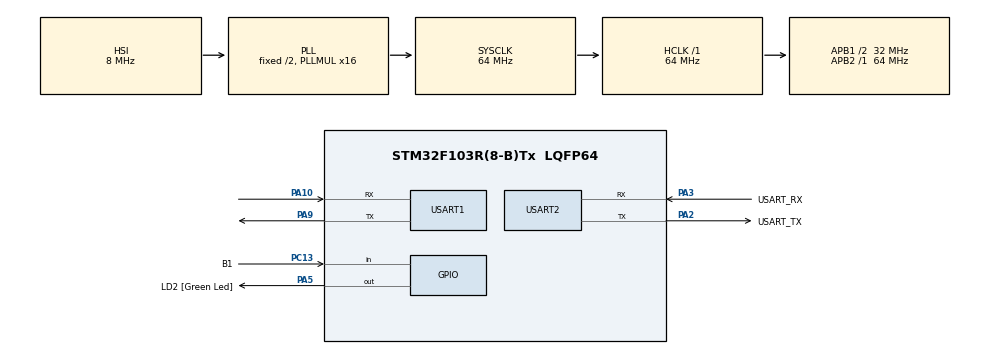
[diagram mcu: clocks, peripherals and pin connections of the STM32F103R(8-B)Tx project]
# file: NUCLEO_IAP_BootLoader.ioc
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Mcu.Family=STM32F1
Mcu.Name=STM32F103R(8-B)Tx
Mcu.Package=LQFP64
NVIC.PriorityGroup=NVIC_PRIORITYGROUP_4
NVIC.USART1_IRQn=true\:0\:0\:false\:false\:true\:true\:true
PA10.Mode=Asynchronous
PA10.Signal=USART1_RX
PA13.GPIO_Label=TMS
PA13.Mode=Serial_Wire
PA13.Signal=SYS_JTMS-SWDIO
PA14.GPIO_Label=TCK
PA14.Mode=Serial_Wire
PA14.Signal=SYS_JTCK-SWCLK
PA2.GPIO_Label=USART_TX
PA2.GPIO_Mode=GPIO_MODE_AF_PP
PA2.GPIO_PuPd=GPIO_NOPULL
PA2.GPIO_Speed=GPIO_SPEED_FREQ_LOW
PA2.Mode=Asynchronous
PA2.Signal=USART2_TX
PA3.GPIO_Label=USART_RX
PA3.GPIO_Mode=GPIO_MODE_AF_PP
PA3.GPIO_PuPd=GPIO_NOPULL
PA3.GPIO_Speed=GPIO_SPEED_FREQ_LOW
PA3.Mode=Asynchronous
PA3.Signal=USART2_RX
PA5.GPIO_Label=LD2 [Green Led]
PA5.GPIO_ModeDefaultOutputPP=GPIO_MODE_OUTPUT_PP
PA5.GPIO_PuPd=GPIO_NOPULL
PA5.GPIO_Speed=GPIO_SPEED_FREQ_LOW
PA5.Signal=GPIO_Output
PA9.Mode=Asynchronous
PA9.Signal=USART1_TX
PB3.GPIO_Label=SWO
PB3.Signal=SYS_JTDO-TRACESWO
PC13-TAMPER-RTC.GPIO_Label=B1
PC13-TAMPER-RTC.Signal=GPIO_Input
PC14-OSC32_IN.Mode=LSE-External-Oscillator
PC14-OSC32_IN.Signal=RCC_OSC32_IN
PC15-OSC32_OUT.Mode=LSE-External-Oscillator
PC15-OSC32_OUT.Signal=RCC_OSC32_OUT
PD0-OSC_IN.Signal=RCC_OSC_IN
PD1-OSC_OUT.Signal=RCC_OSC_OUT
ProjectManager.HeapSize=0x200
ProjectManager.StackSize=0x400
ProjectManager.TargetToolchain=STM32CubeIDE
RCC.AHBFreq_Value=64000000
RCC.APB1CLKDivider=RCC_HCLK_DIV2
RCC.APB1Freq_Value=32000000
RCC.APB1TimFreq_Value=64000000
RCC.APB2Freq_Value=64000000
RCC.APB2TimFreq_Value=64000000
RCC.HCLKFreq_Value=64000000
RCC.PLLMUL=RCC_PLL_MUL16
RCC.RTCClockSelection=RCC_RTCCLKSOURCE_LSE
RCC.SYSCLKFreq_VALUE=64000000
RCC.SYSCLKSource=RCC_SYSCLKSOURCE_PLLCLK
RCC.USBFreq_Value=64000000
USART1.VirtualMode=VM_ASYNC
USART2.VirtualMode=VM_ASYNC
board=NUCLEO-F103RB

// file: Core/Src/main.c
/* USER CODE BEGIN Header */
/**
  ******************************************************************************
  * @file           : main.c
  * @brief          : Main program body
  ******************************************************************************
  * @attention
  *
  * <h2><center>&copy; Copyright (c) 2020 STMicroelectronics.
  * All rights reserved.</center></h2>
  *
  * This software component is licensed by ST under BSD 3-Clause license,
  * the "License"; You may not use this file except in compliance with the
  * License. You may obtain a copy of the License at:
  *                        opensource.org/licenses/BSD-3-Clause
  *
  ******************************************************************************
  */
/* USER CODE END Header */

#include "main.h"
#include "usart.h"
#include "gpio.h"

/* USER CODE BEGIN Includes */
#include "stdio.h"
#include "flash.h"
/* USER CODE END Includes */

/* USER CODE BEGIN PV */

uint8_t Uart1_Rx_Char;		// 用来接收串口1收到的的数据
uint8_t Uart1_Rx_Buffer[150] = {0};
//uint8_t Wifi_Command_Buffer[100] = {0};
uint8_t Rx_Buffer_Size = 0;
//uint8_t Rx_Line_Flag = 0;

/* USER CODE END PV */

void SystemClock_Config(void);
/* USER CODE BEGIN PFP */

void go2APP(void);

void Data_Manage(uint8_t Is_Last_Page);

void Download_App(void);
/* USER CODE END PFP */

int main(void)
{

  /* MCU Configuration--------------------------------------------------------*/

  /* Reset of all peripherals, Initializes the Flash interface and the Systick. */
  HAL_Init();

  /* Configure the system clock */
  SystemClock_Config();

  /* Initialize all configured peripherals */
  MX_GPIO_Init();
  MX_USART2_UART_Init();
  MX_USART1_UART_Init();
  /* USER CODE BEGIN 2 */
  HAL_UART_Receive_IT(&huart1,&Uart1_Rx_Char,1);
  //printf("BOOTLOADER Start\r\n");
/*
  uint8_t Flash_Test[1024] = {0};
  for(int i = 0; i < 256; i++) {
	  Flash_Test[i] = 25;
  }
  Flash_Write_Page(0x08008000, Flash_Test);
  uint32_t t =  *(uint32_t *)0x08008400;
  while(1);
*/
 // printf("C");
  //printf("C");
/*
  //printf("C\r\n");
  printf("C\n");
 // int i = 0;
  uint8_t ReceiveFile_End_Flag = 0;
  uint8_t temp[10] = {0}, i = 0;
 // uint8_t Last_Buffer_Size = 0;
  while(1) {

	  if(Rx_Buffer_Size == 133) { //一帧数据接受完成

		  if(Uart1_Rx_Buffer[1] == 0) { //为起始帧
			  printf("%c", 6);//返回ACK
			  printf("C\n");
		  } else {  //每一帧正文数据  在printf前处理

			  Data_Manage(0);

			  printf("%c\n", 6);//返回ACK
			 // printf("C\r\n");
		  }

		  //Rx_Buffer_Size = 0;
		 // printf("%c", 6);
		 // printf("C\r\n");
		//  i++;
		  Rx_Buffer_Size = 0;
	    }

 	//  if((Rx_Buffer_Size - Last_Buffer_Size) == 1 && Rx_Buffer_Size == 1) { //检查第一位
	  	  if(Rx_Buffer_Size == 1) {
 		 // temp[i] = Uart1_Rx_Buffer[0];
 		  //i++;

		  if(Uart1_Rx_Buffer[0] == 4) { //文件传送结束
				/*
			  if(ReceiveFile_End_Flag == 1) {
				  printf("%c", 6); //返回ACK
				  printf("C\r\n");
				  //ReceiveFile_End_Flag = 1;
				  Rx_Buffer_Size = 0;
			  }

			  if(ReceiveFile_End_Flag == 0) { //发送方发送的第一个EOT 此处处理收尾

				  Data_Manage(1);

				//  while(1);

				  printf("%c\n", 21); //返回NAK
				  ReceiveFile_End_Flag = 1;
				  Rx_Buffer_Size = 0;
			  }
		  }

	  }

 	// Last_Buffer_Size = Rx_Buffer_Size;
  }
*/
  /* USER CODE END 2 */

  /* Infinite loop */
  /* USER CODE BEGIN WHILE */
  while (1)
  {
	  if(HAL_GPIO_ReadPin(B1_GPIO_Port, B1_Pin)) { //user app
		 // printf("button is up\r\n");
		//  HAL_GPIO_WritePin(LD2_GPIO_Port, LD2_Pin,GPIO_PIN_RESET);
		  go2APP();
	  } else { //bootloader
		 // printf("button is down\r\n");

		  //HAL_GPIO_WritePin(LD2_GPIO_Port, LD2_Pin, GPIO_PIN_SET);

		  Download_App();
		  go2APP();
		  //printf("C");
		  //HAL_FLASH
	  }
    /* USER CODE END WHILE */

  }
}

void SystemClock_Config(void)
{
  RCC_OscInitTypeDef RCC_OscInitStruct = {0};
  RCC_ClkInitTypeDef RCC_ClkInitStruct = {0};

  /** Initializes the CPU, AHB and APB busses clocks
  */
  RCC_OscInitStruct.OscillatorType = RCC_OSCILLATORTYPE_HSI;
  RCC_OscInitStruct.HSIState = RCC_HSI_ON;
  RCC_OscInitStruct.HSICalibrationValue = RCC_HSICALIBRATION_DEFAULT;
  RCC_OscInitStruct.PLL.PLLState = RCC_PLL_ON;
  RCC_OscInitStruct.PLL.PLLSource = RCC_PLLSOURCE_HSI_DIV2;
  RCC_OscInitStruct.PLL.PLLMUL = RCC_PLL_MUL16;
  if (HAL_RCC_OscConfig(&RCC_OscInitStruct) != HAL_OK)
  {
    Error_Handler();
  }
  /** Initializes the CPU, AHB and APB busses clocks
  */
  RCC_ClkInitStruct.ClockType = RCC_CLOCKTYPE_HCLK|RCC_CLOCKTYPE_SYSCLK
                              |RCC_CLOCKTYPE_PCLK1|RCC_CLOCKTYPE_PCLK2;
  RCC_ClkInitStruct.SYSCLKSource = RCC_SYSCLKSOURCE_PLLCLK;
  RCC_ClkInitStruct.AHBCLKDivider = RCC_SYSCLK_DIV1;
  RCC_ClkInitStruct.APB1CLKDivider = RCC_HCLK_DIV2;
  RCC_ClkInitStruct.APB2CLKDivider = RCC_HCLK_DIV1;

  if (HAL_RCC_ClockConfig(&RCC_ClkInitStruct, FLASH_LATENCY_2) != HAL_OK)
  {
    Error_Handler();
  }
}

/* USER CODE BEGIN 4 */

#define FLASH_APP_ADDR 0x8008000
typedef void (*pFunction)(void);

void go2APP(void) {
  uint32_t JumpAddress;
  pFunction Jump_To_Application;

  //printf("BOOTLOADER Start\n");

  //Check
  if (((*(__IO uint32_t*) FLASH_APP_ADDR) & 0x2FFE0000) == 0x20000000) {
    printf("APP Start...\n");
    HAL_Delay(100);
    // Jump to user application //
    JumpAddress = *(__IO uint32_t*) (FLASH_APP_ADDR + 4);
    Jump_To_Application = (pFunction) JumpAddress;
    // Initialize user application's Stack Pointer //
    __set_MSP(*(__IO uint32_t*) FLASH_APP_ADDR);
    Jump_To_Application();
  } else {
    printf("No APP found!!!\n");
  }
}

//UART接收中断
void HAL_UART_RxCpltCallback(UART_HandleTypeDef *huart) {
	if(huart->Instance == huart1.Instance) {
		//if(Rx_Line_Flag == 0) {
			/*
			if(Uart1_Rx_Char == '\n') {
				Uart1_Rx_Buffer[Rx_Buffer_Size] = '\0';
				//if(Rx_Buffer_Size >= 5) {
					Rx_Line_Flag = 1;
				//}
				if(Rx_Buffer_Size == 0){
					Rx_Line_Flag = 0;
				}
				Rx_Buffer_Size = 0;
			}else {*/ //不必要有这段
				Uart1_Rx_Buffer[Rx_Buffer_Size] = Uart1_Rx_Char;
				Rx_Buffer_Size++;
			//}

		//}
		HAL_UART_Receive_IT(&huart1,&Uart1_Rx_Char,1);
	}
}

uint8_t Flash_Data_Buffer[1024] = {0};
uint8_t Flash_Data_Frame_Num = 0;
uint32_t Flash_Page_Num = 0;
void Data_Manage(uint8_t Is_Last_Page) {

	if(Is_Last_Page == 0) {
		for(uint8_t i = 0; i < 128; i++) {
			Flash_Data_Buffer[Flash_Data_Frame_Num * 128 + i] = Uart1_Rx_Buffer[3 + i];
		}
		Flash_Data_Frame_Num++;
		if(Flash_Data_Frame_Num == 8) {
			Flash_Write_Page(0x08008000 + Flash_Page_Num * 0x400, Flash_Data_Buffer);

			uint8_t t =  *(uint8_t *)0x080083ff;

			Flash_Page_Num++;
			Flash_Data_Frame_Num = 0;
		}
	} else if(Is_Last_Page == 1) {

		if(Flash_Data_Frame_Num != 0) {
			Flash_Write_Page(0x08008000 + Flash_Page_Num * 0x400, Flash_Data_Buffer);

			uint8_t t =  *(uint8_t *)0x08008131;

		}

	}

}

void Download_App(void) {

	  //printf("C\r\n");
	  printf("C\n");
	 // int i = 0;
	  uint8_t ReceiveFile_End_Flag = 0;
	  uint8_t temp[10] = {0}, i = 0;
	 // uint8_t Last_Buffer_Size = 0;
	  while(1) {

		  if(Rx_Buffer_Size == 133) { //一帧数据接受完成

			  if(Uart1_Rx_Buffer[1] == 0) { //为起始帧
				  printf("%c", 6);//返回ACK
				  printf("C\n");
			  } else {  //每一帧正文数据  在printf前处理

				  Data_Manage(0);

				  printf("%c\n", 6);//返回ACK
				 // printf("C\r\n");
			  }

			  //Rx_Buffer_Size = 0;
			 // printf("%c", 6);
			 // printf("C\r\n");
			//  i++;
			  Rx_Buffer_Size = 0;
		    }

	 	//  if((Rx_Buffer_Size - Last_Buffer_Size) == 1 && Rx_Buffer_Size == 1) { //检查第一位
		  	  if(Rx_Buffer_Size == 1) {
	 		 // temp[i] = Uart1_Rx_Buffer[0];
	 		  //i++;

			  if(Uart1_Rx_Buffer[0] == 4) { //文件传送结束
				  /*
				  if(ReceiveFile_End_Flag == 1) {
					  printf("%c", 6); //返回ACK
					  printf("C\r\n");
					  //ReceiveFile_End_Flag = 1;
					  Rx_Buffer_Size = 0;
				  }
					*/
				  if(ReceiveFile_End_Flag == 0) { //发送方发送的第一个EOT 此处处理收尾

					  Data_Manage(1);

					  return;
					//  while(1);

					//  printf("%c\n", 21); //返回NAK
					  ReceiveFile_End_Flag = 1;
					  Rx_Buffer_Size = 0;
				  }
			  }

		  }

	 	// Last_Buffer_Size = Rx_Buffer_Size;
	  }

}
/* USER CODE END 4 */

void Error_Handler(void)
{
}

/************************ (C) COPYRIGHT STMicroelectronics *****END OF FILE****/
